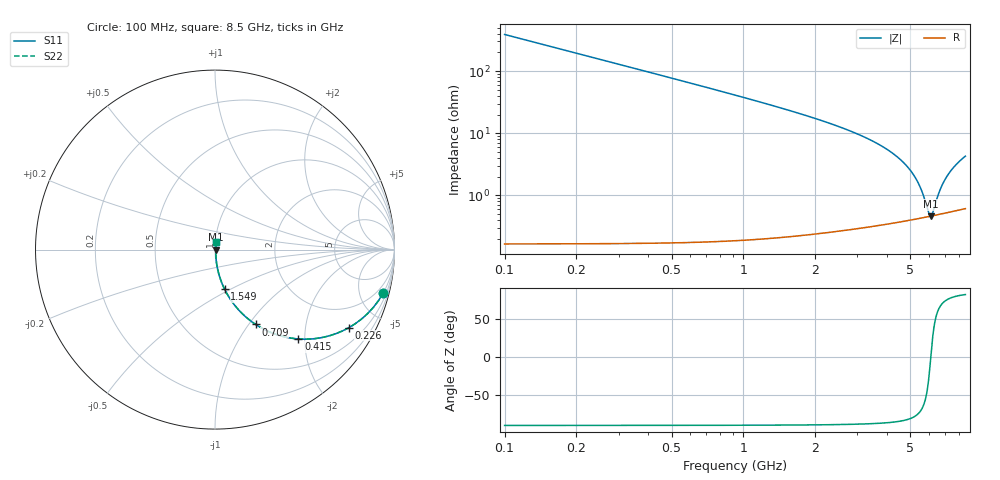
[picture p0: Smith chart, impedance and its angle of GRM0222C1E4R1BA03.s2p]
!Murata Part Number: GRM0222C1E4R1BA03
!These Parameters are Measured in Series Mode Connection
!Data Generated on Mar 30, 2021
!  o--ll--o
!Port1  Port2
!  o------o
!Operation Temp=25[degC], DC Bias Voltage=0[V]
!Freq. Start=100[MHz] Stop=9[GHz] 401[Steps]
# Hz S RI R 50
!Freq.(Hz) S11(Real) S11(Imag) S21(Real) S21(Imag) S12(Real) S12(Imag) S22(Real) S22(Imag)
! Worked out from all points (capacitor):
!   401 points, 100 MHz to 8.5 GHz, reference 50 ohm
!   read as one part in series: C = 4.1 pF near 142 MHz
!   lowest |Z| = 463 mohm at 6.085 GHz (marker M1)
!   series resonance near 6.089 GHz, so ESL is about 170 pH
!   S11 on the Smith chart (normalised r, x): 100 MHz: 1.00, -7.76; 226 MHz: 1.00, -3.43; 415 MHz: 1.00, -1.86; 709 MHz: 1.00, -1.08; 1.549 GHz: 1.00, -0.47; 8.5 GHz: 1.01, +0.08
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1e8  0.9376 -0.2416  0.0624 0.2416  0.0624 0.2416  0.9376 -0.2416
2.26e8  0.7461 -0.4348  0.2539 0.4348  0.2539 0.4348  0.7461 -0.4348
3.1e8  0.6092 -0.4873  0.3908 0.4873  0.3908 0.4873  0.6092 -0.4873
4.15e8  0.4643 -0.4978  0.5357 0.4978  0.5357 0.4978  0.4643 -0.4978
5.62e8  0.3195 -0.465  0.6805 0.465  0.6805 0.465  0.3195 -0.465
7.09e8  0.2263 -0.4168  0.7737 0.4168  0.7737 0.4168  0.2263 -0.4168
1.024e9  0.1205 -0.3229  0.8795 0.3229  0.8795 0.3229  0.1205 -0.3229
1.507e9  0.0568 -0.227  0.9432 0.227  0.9432 0.227  0.0568 -0.227
1.549e9  0.0536 -0.2207  0.9464 0.2207  0.9464 0.2207  0.0536 -0.2207
2.914e9  0.0131 -0.1004  0.9869 0.1004  0.9869 0.1004  0.0131 -0.1004
4.3e9  0.00557 -0.0444  0.9944 0.0444  0.9944 0.0444  0.00557 -0.0444
4.762e9  0.00481 -0.031  0.9952 0.031  0.9952 0.031  0.00481 -0.031
5.14e9  0.00451 -0.0212  0.9955 0.0212  0.9955 0.0212  0.00451 -0.0212
5.455e9  0.00443 -0.0137  0.9956 0.0137  0.9956 0.0137  0.00443 -0.0137
5.707e9  0.00445 -0.00807  0.9956 0.00807  0.9956 0.00807  0.00445 -0.00807
5.959e9  0.00454 -0.00268  0.9955 0.00268  0.9955 0.00268  0.00454 -0.00268
6.085e9  0.00461 -7.78e-05  0.9954 7.78e-05  0.9954 7.78e-05  0.00461 -7.78e-05
6.19e9  0.00467 0.00205  0.9953 -0.00205  0.9953 -0.00205  0.00467 0.00205
6.652e9  0.00507 0.011  0.9949 -0.011  0.9949 -0.011  0.00507 0.011
7.114e9  0.0056 0.0193  0.9944 -0.0193  0.9944 -0.0193  0.0056 0.0193
7.723e9  0.00648 0.0296  0.9935 -0.0296  0.9935 -0.0296  0.00648 0.0296
8.5e9  0.00783 0.0417  0.9922 -0.0417  0.9922 -0.0417  0.00783 0.0417
